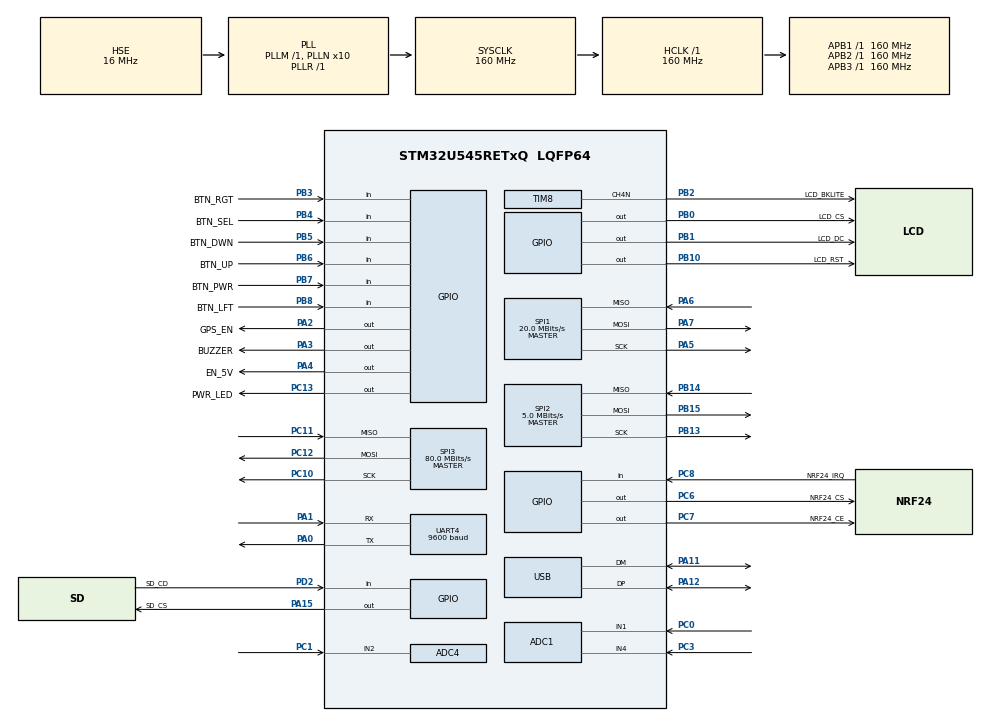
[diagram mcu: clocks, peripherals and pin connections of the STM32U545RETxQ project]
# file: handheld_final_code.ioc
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ADC1.Channel-6\#ChannelRegularConversion=ADC_CHANNEL_1
ADC1.Channel-7\#ChannelRegularConversion=ADC_CHANNEL_4
ADC1.ClockPrescaler=ADC_CLOCK_ASYNC_DIV4
ADC1.EnableAnalogWatchDog1=false
ADC1.MonitoredBy-6\#ChannelRegularConversion=__NULL
ADC1.MonitoredBy-7\#ChannelRegularConversion=__NULL
ADC1.NbrOfConversion=2
ADC1.NbrOfConversionFlag=1
ADC1.OffsetNumber-6\#ChannelRegularConversion=ADC_OFFSET_NONE
ADC1.OffsetNumber-7\#ChannelRegularConversion=ADC_OFFSET_NONE
ADC1.Rank-6\#ChannelRegularConversion=1
ADC1.Rank-7\#ChannelRegularConversion=2
ADC1.SamplingTime-6\#ChannelRegularConversion=ADC_SAMPLETIME_20CYCLES
ADC1.SamplingTime-7\#ChannelRegularConversion=ADC_SAMPLETIME_20CYCLES
ADC1.TriggerFrequencyMode=ADC_TRIGGER_FREQ_HIGH
ADC1.master=1
ADC4.Channel-0\#ChannelRegularConversion=ADC_CHANNEL_2
ADC4.ClockPrescaler=ADC_CLOCK_ASYNC_DIV4
ADC4.NbrOfConversionFlag=1
ADC4.OffsetNumber-0\#ChannelRegularConversion=ADC_OFFSET_NONE
ADC4.Rank-0\#ChannelRegularConversion=1
ADC4.RankArg-0\#ChannelRegularConversion=ADC4_REGULAR_RANK_1
ADC4.SamplingTime-0\#ChannelRegularConversion=ADC4_SAMPLINGTIME_COMMON_1
ADC4.SelectedChannel=ADC_CHANNEL_2
CORTEX_M33_NS.userName=CORTEX_M33
GPDMA1.DATAHANDLING_GPDMACH0=NONE
GPDMA1.DESTBURSTLENGTH_GPDMACH0=1
GPDMA1.DESTDATAWIDTH_GPDMACH0=DMA_DEST_DATAWIDTH_HALFWORD
GPDMA1.DIRECTION_GPDMACH0=DMA_MEMORY_TO_PERIPH
GPDMA1.IPHANDLE_GPDMACH0-SIMPLEREQUEST_GPDMACH0=__NULL
GPDMA1.PRIORITY_GPDMACH0=DMA_LOW_PRIORITY_LOW_WEIGHT
GPDMA1.REQUEST_GPDMACH0=GPDMA1_REQUEST_SPI1_TX
GPDMA1.SRCBURSTLENGTH_GPDMACH0=1
GPDMA1.SRCDATAWIDTH_GPDMACH0=DMA_SRC_DATAWIDTH_HALFWORD
GPDMA1.SRCINC_GPDMACH0=DMA_SINC_INCREMENTED
GPDMA1.TRIGGERPOLARITY_GPDMACH0=DMA_TRIG_POLARITY_MASKED
Mcu.Family=STM32U5
Mcu.Name=STM32U545RETxQ
Mcu.Package=LQFP64
NVIC.ADC1_IRQn=true\:0\:0\:false\:false\:true\:true\:true\:true
NVIC.GPDMA1_Channel0_IRQn=true\:0\:0\:false\:false\:true\:false\:true\:true
NVIC.PriorityGroup=NVIC_PRIORITYGROUP_4
NVIC.SPI1_IRQn=true\:0\:0\:false\:false\:true\:false\:true\:true
NVIC.TIM6_IRQn=true\:0\:0\:false\:false\:true\:true\:true\:true
NVIC.UART4_IRQn=true\:0\:0\:false\:false\:true\:true\:true\:true
PA0.Mode=Asynchronous
PA0.Signal=UART4_TX
PA1.Mode=Asynchronous
PA1.Signal=UART4_RX
PA11.Mode=Host
PA11.Signal=USB_DM
PA12.Mode=Host
PA12.Signal=USB_DP
PA13\ (JTMS/SWDIO).Mode=Serial_Wire
PA13\ (JTMS/SWDIO).Signal=DEBUG_JTMS-SWDIO
PA14\ (JTCK/SWCLK).Mode=Serial_Wire
PA14\ (JTCK/SWCLK).Signal=DEBUG_JTCK-SWCLK
PA15\ (JTDI).GPIO_Label=SD_CS
PA15\ (JTDI).Signal=GPIO_Output
PA2.GPIO_Label=GPS_EN
PA2.Signal=GPIO_Output
PA3.GPIO_Label=BUZZER
PA3.Signal=GPIO_Output
PA4.GPIO_Label=EN_5V
PA4.Signal=GPIO_Output
PA5.Mode=Full_Duplex_Master
PA5.Signal=SPI1_SCK
PA6.Mode=Full_Duplex_Master
PA6.Signal=SPI1_MISO
PA7.Mode=Full_Duplex_Master
PA7.Signal=SPI1_MOSI
PB0.GPIO_Label=LCD_CS
PB0.Signal=GPIO_Output
PB1.GPIO_Label=LCD_DC
PB1.Signal=GPIO_Output
PB10.GPIO_Label=LCD_RST
PB10.Signal=GPIO_Output
PB13.Mode=Full_Duplex_Master
PB13.Signal=SPI2_SCK
PB14.Mode=Full_Duplex_Master
PB14.Signal=SPI2_MISO
PB15.Mode=Full_Duplex_Master
PB15.Signal=SPI2_MOSI
PB2.GPIO_Label=LCD_BKLITE
PB2.Mode=PWM Generation4 CH4N
PB2.Signal=TIM8_CH4N
PB3\ (JTDO/TRACESWO).GPIO_Label=BTN_RGT
PB3\ (JTDO/TRACESWO).Signal=GPIO_Input
PB4\ (NJTRST).GPIO_Label=BTN_SEL
PB4\ (NJTRST).Signal=GPIO_Input
PB5.GPIO_Label=BTN_DWN
PB5.Signal=GPIO_Input
PB6.GPIO_Label=BTN_UP
PB6.Signal=GPIO_Input
PB7.GPIO_Label=BTN_PWR
PB7.Signal=GPIO_Input
PB8.GPIO_Label=BTN_LFT
PB8.Signal=GPIO_Input
PC0.Mode=IN1-Single-Ended
PC0.Signal=ADC1_IN1
PC1.Mode=IN2
PC1.Signal=ADC4_IN2
PC10.Mode=Full_Duplex_Master
PC10.Signal=SPI3_SCK
PC11.Mode=Full_Duplex_Master
PC11.Signal=SPI3_MISO
PC12.Mode=Full_Duplex_Master
PC12.Signal=SPI3_MOSI
PC13.GPIO_Label=PWR_LED
PC13.Signal=GPIO_Output
PC3.Mode=IN4-Single-Ended
PC3.Signal=ADC1_IN4
PC6.GPIO_Label=NRF24_CS
PC6.Signal=GPIO_Output
PC7.GPIO_Label=NRF24_CE
PC7.Signal=GPIO_Output
PC8.GPIO_Label=NRF24_IRQ
PC8.Signal=GPIO_Input
PD2.GPIO_Label=SD_CD
PD2.Signal=GPIO_Input
PH0-OSC_IN\ (PH0).Mode=HSE-External-Oscillator
PH0-OSC_IN\ (PH0).Signal=RCC_OSC_IN
PH1-OSC_OUT\ (PH1).Mode=HSE-External-Oscillator
PH1-OSC_OUT\ (PH1).Signal=RCC_OSC_OUT
ProjectManager.HeapSize=0x200
ProjectManager.StackSize=0x400
ProjectManager.TargetToolchain=STM32CubeIDE
RCC.ADCCLockSelection=RCC_ADCDACCLKSOURCE_SYSCLK
RCC.ADCFreq_Value=160000000
RCC.AHBFreq_Value=160000000
RCC.APB1Freq_Value=160000000
RCC.APB1TimFreq_Value=160000000
RCC.APB2Freq_Value=160000000
RCC.APB2TimFreq_Value=160000000
RCC.APB3Freq_Value=160000000
RCC.CK48CLockSelection=RCC_CLK48CLKSOURCE_PLL2
RCC.CortexFreq_Value=160000000
RCC.DACCLockSelectionVirtual=RCC_DAC1CLKSOURCE_LSI
RCC.DACCLockSelectionVirtualString=RCC_DAC1CLKSOURCE_LSI
RCC.EPOD_VALUE=16000000
RCC.HCLKFreq_Value=160000000
RCC.HSE_VALUE=16000000
RCC.HSI48_VALUE=48000000
RCC.HSI_VALUE=16000000
RCC.LSE_VALUE=32768
RCC.LSIDIV_VALUE=32000
RCC.MSI_VALUE=4000000
RCC.PLL1Q=4
RCC.PLL1R=1
RCC.PLL2N=12
RCC.PLL2Q=4
RCC.PLL2Source=RCC_PLLSOURCE_HSE
RCC.PLLN=10
RCC.PLLSourceVirtual=RCC_PLLSOURCE_HSE
RCC.SYSCLKFreq_VALUE=160000000
RCC.SYSCLKSource=RCC_SYSCLKSOURCE_PLLCLK
RCC.USBFreq_Value=48000000
RCC.VCOOutputFreq_Value=160000000
SPI1.BaudRatePrescaler=SPI_BAUDRATEPRESCALER_8
SPI1.CalculateBaudRate=20.0 MBits/s
SPI1.DataSize=SPI_DATASIZE_8BIT
SPI1.Direction=SPI_DIRECTION_2LINES
SPI1.Mode=SPI_MODE_MASTER
SPI1.VirtualType=VM_MASTER
SPI2.BaudRatePrescaler=SPI_BAUDRATEPRESCALER_32
SPI2.CalculateBaudRate=5.0 MBits/s
SPI2.DataSize=SPI_DATASIZE_8BIT
SPI2.Direction=SPI_DIRECTION_2LINES
SPI2.Mode=SPI_MODE_MASTER
SPI2.VirtualType=VM_MASTER
SPI3.BaudRatePrescaler=SPI_BAUDRATEPRESCALER_2
SPI3.CalculateBaudRate=80.0 MBits/s
SPI3.Direction=SPI_DIRECTION_2LINES
SPI3.Mode=SPI_MODE_MASTER
SPI3.VirtualType=VM_MASTER
STMicroelectronics.X-CUBE-TOUCHGFX.4.23.2.ApplicationCcGraphicsJjApplication=TouchGFXOoGenerator
STMicroelectronics.X-CUBE-TOUCHGFX.4.23.2.tgfx_address1=0x20000000
STMicroelectronics.X-CUBE-TOUCHGFX.4.23.2.tgfx_custom_height=240
STMicroelectronics.X-CUBE-TOUCHGFX.4.23.2.tgfx_custom_width=320
STMicroelectronics.X-CUBE-TOUCHGFX.4.23.2.tgfx_location=Allocate
STMicroelectronics.X-CUBE-TOUCHGFX.4.23.2_IsPackSelfContextualization=true
TIM6.AutoReloadPreload=TIM_AUTORELOAD_PRELOAD_DISABLE
TIM6.PeriodNoDither=333
TIM6.Prescaler=16000
TIM6.TIM_MasterOutputTrigger=TIM_TRGO_RESET
TIM8.AutoReloadPreload=TIM_AUTORELOAD_PRELOAD_ENABLE
TIM8.Channel-PWM\ Generation4\ CH4N=TIM_CHANNEL_4
TIM8.OCNIdleState_4=TIM_OCNIDLESTATE_RESET
TIM8.PeriodNoDither=1600
TIM8.PulseNoDither_4=800
UART4.BaudRate=9600
VP_CRC_VS_CRC.Mode=CRC_Activate
VP_GPDMA1_VS_GPDMACH0.Mode=SIMPLEREQUEST_GPDMACH0
VP_LPBAMQUEUE_VS_QUEUE.Mode=QUEUEMODE
VP_LPBAM_VS_SIG1.Mode=SmartRun
VP_LPBAM_VS_SIG4.Mode=LPDMA1
VP_MEMORYMAP_VS_MEMORYMAP.Mode=CurAppReg
VP_PWR_VS_SECSignals.Mode=Security/Privilege
VP_PWR_Vdda.Mode=isolationVdda
VP_STMicroelectronics.X-CUBE-TOUCHGFX_VS_GraphicsJjApplication_4.23.2.Mode=GraphicsJjApplication
VP_TIM6_VS_ClockSourceINT.Mode=Enable_Timer
board=custom

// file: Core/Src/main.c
/* USER CODE BEGIN Header */
/**
  ******************************************************************************
  * @file           : main.c
  * @brief          : Main program body
  ******************************************************************************
  * @attention
  *
  * Copyright (c) 2024 STMicroelectronics.
  * All rights reserved.
  *
  * This software is licensed under terms that can be found in the LICENSE file
  * in the root directory of this software component.
  * If no LICENSE file comes with this software, it is provided AS-IS.
  *
  ******************************************************************************
  */
/* USER CODE END Header */
#include "main.h"
#include "app_touchgfx.h"

/* USER CODE BEGIN Includes */
#include <stdbool.h>
#include <string.h>
#include "ili9341.h"
#include "methane_detector.h"
#include "wireless.h"
#include "gps.h"
#include "button_gui.h"
/* USER CODE END Includes */

ADC_HandleTypeDef hadc1;
ADC_HandleTypeDef hadc4;

CRC_HandleTypeDef hcrc;

SPI_HandleTypeDef hspi1;
SPI_HandleTypeDef hspi2;
SPI_HandleTypeDef hspi3;
DMA_HandleTypeDef handle_GPDMA1_Channel0;

TIM_HandleTypeDef htim6;
TIM_HandleTypeDef htim8;

UART_HandleTypeDef huart4;

HCD_HandleTypeDef hhcd_USB_DRD_FS;

void SystemClock_Config(void);
static void MX_GPIO_Init(void);
static void MX_GPDMA1_Init(void);
static void MX_SPI2_Init(void);
static void MX_SPI3_Init(void);
static void MX_USB_DRD_FS_HCD_Init(void);
static void MX_ADC1_Init(void);
static void MX_ADC4_Init(void);
static void MX_TIM8_Init(void);
static void MX_SPI1_Init(void);
static void MX_CRC_Init(void);
static void MX_UART4_Init(void);
static void MX_TIM6_Init(void);

/* USER CODE BEGIN 0 */
// Selects the handheld methane sensor ADC for the next conversion.
void ADC_Select_CH1 (void) {
	ADC_ChannelConfTypeDef sConfig = {0};

	sConfig.Channel = ADC_CHANNEL_1;
	sConfig.Rank = ADC_REGULAR_RANK_1;
	sConfig.SamplingTime = ADC_SAMPLETIME_20CYCLES;
	sConfig.SingleDiff = ADC_SINGLE_ENDED;
	sConfig.OffsetNumber = ADC_OFFSET_NONE;
	sConfig.Offset = 0;
	if (HAL_ADC_ConfigChannel(&hadc1, &sConfig) != HAL_OK)
	{
	   Error_Handler();
	}
}

// Selects the search methane sensor ADC for the next conversion.
void ADC_Select_CH4 (void) {
	ADC_ChannelConfTypeDef sConfig = {0};

	sConfig.Channel = ADC_CHANNEL_4;
	sConfig.Rank = ADC_REGULAR_RANK_1;
	sConfig.SamplingTime = ADC_SAMPLETIME_20CYCLES;
	sConfig.SingleDiff = ADC_SINGLE_ENDED;
	sConfig.OffsetNumber = ADC_OFFSET_NONE;
	sConfig.Offset = 0;
	if (HAL_ADC_ConfigChannel(&hadc1, &sConfig) != HAL_OK)
	{
	   Error_Handler();
	}
}

// Globals used by TouchGFX
uint16_t methaneLevel = 0;
volatile uint8_t newMethaneLevelReady = 0;
uint8_t touchgfxButtonPressed = BUTTON_NONE;
uint8_t touchgfxCurrentScreen = SCREEN_LOADING;
bool touchgfxRefreshScreen = false;
bool touchgfxIsMuteActive = false;
bool touchgfxIsLoggingActive = false;
bool touchgfxZeroRequested = false;
bool touchgfxSetFaultLight = false;
bool touchgfxSet20LELLight = false;
// End globals used by TouchGFX

/* USER CODE END 0 */

int main(void)
{

  /* MCU Configuration--------------------------------------------------------*/

  /* Reset of all peripherals, Initializes the Flash interface and the Systick. */
  HAL_Init();

  /* Configure the system clock */
  SystemClock_Config();

  /* Initialize all configured peripherals */
  MX_GPIO_Init();
  MX_GPDMA1_Init();
  MX_SPI2_Init();
  MX_SPI3_Init();
  MX_USB_DRD_FS_HCD_Init();
  MX_ADC1_Init();
  MX_ADC4_Init();
  MX_TIM8_Init();
  MX_SPI1_Init();
  MX_CRC_Init();
  MX_UART4_Init();
  MX_TIM6_Init();
  MX_TouchGFX_Init();
  /* USER CODE BEGIN 2 */

  //HAL_GPIO_WritePin(GPS_EN_GPIO_Port, GPS_EN_Pin, GPIO_PIN_RESET);	//Temporarily reset GPS (which is connected to display reset)
  HAL_GPIO_WritePin(PWR_LED_GPIO_Port, PWR_LED_Pin, GPIO_PIN_SET); //set LED pin high to show that program is working
  HAL_GPIO_WritePin(EN_5V_GPIO_Port, EN_5V_Pin, GPIO_PIN_SET);

  //HAL_Delay(1000);	//Wait a little before resetting display
  HAL_GPIO_WritePin(GPS_EN_GPIO_Port, GPS_EN_Pin, GPIO_PIN_RESET);

  ILI9341_Init();		// Run initialization function for LCD display
  ILI9341_SetDisplayBrightness(&htim8,100);	//set backlight brightness to 100%

  HAL_TIMEx_PWMN_Start(&htim8, TIM_CHANNEL_4);		// Enable complementary PWM on channel 4 of timer 8 (backlight brightness control)
  HAL_TIM_Base_Start_IT(&htim6);					// Start TIM6 to generate an interrupt every 1 second for calling TouchGFX vsync function. See stm32u5xx_it.c for call to vsync function

  uint8_t touchgfxPrerun = 0;
  while (touchgfxPrerun < 100) {
	  MX_TouchGFX_Process();	// Let TouchGFX get initialized before we start doing heavy lifting
	  touchgfxPrerun++;
  }

  // Initializing variables used in the main loop
  uint32_t lastConversionTime = HAL_GetTick();
  uint16_t numAvgs = 32;
  uint32_t avgAccum = 0;
  uint16_t referenceADCValue = 0;
  uint16_t searchADCValue = 0;
  uint16_t searchMethaneLevel = 0;
  uint16_t referenceMethaneLevel = 0;
  int16_t setZero = 0;
  uint8_t currentButtonPressed = BUTTON_NONE;
  uint8_t lastButtonPressed = BUTTON_NONE;
  bool mainScreenEnteredYet = false;
  uint32_t mainScreenEnteredTime = 0;
  uint32_t screenLastRefreshTime = 0;
  uint32_t powerButtonHeldAtTime = 0;
  bool powerButtonLastHeld = false;

  /* USER CODE END 2 */

  /* Infinite loop */
  /* USER CODE BEGIN WHILE */
  while (1)
  {
	  //Start a timer if the main screen is entered so that we can delay the start of sending methane values to touchgfx.
	  if (touchgfxCurrentScreen == SCREEN_MAIN && !mainScreenEnteredYet) {
		  mainScreenEnteredTime = HAL_GetTick();
		  mainScreenEnteredYet = true;
	  }

	  // Handle main screen things: If the current screen is the main screen and it has been at least 1 second since that screen was entered
	  if (touchgfxCurrentScreen == SCREEN_MAIN && HAL_GetTick() - mainScreenEnteredTime > 1000) {
		  // If 100ms has passed since the last ADC read and TouchGFX consumed the last level read, read the ADCs and calculate the methane level
		  if (HAL_GetTick() > (lastConversionTime + 100) && !newMethaneLevelReady) {
			  // Sample the reference methane sensor using an n-point average (n = avgAccum)
			  ADC_Select_CH1();
			  avgAccum = 0;
			  for (int i = 0; i < numAvgs; i++) {
				  HAL_ADC_Start(&hadc1);
				  HAL_ADC_PollForConversion(&hadc1, 1000);
				  avgAccum += HAL_ADC_GetValue(&hadc1);
			  }
			  referenceADCValue = avgAccum / numAvgs;
			  HAL_ADC_Stop(&hadc1);

			  // Sample the search methane sensor using an n-point average
			  ADC_Select_CH4();
			  avgAccum = 0;
			  for (int i = 0; i < numAvgs; i++) {
				  HAL_ADC_Start(&hadc1);
				  HAL_ADC_PollForConversion(&hadc1, 1000);
				  avgAccum += HAL_ADC_GetValue(&hadc1);
			  }
			  searchADCValue = avgAccum / numAvgs;
			  HAL_ADC_Stop(&hadc1);

			  searchMethaneLevel = convertADCToMethane(searchADCValue, 2315.9);			//Ro values must be calibrated to each sensor!
			  referenceMethaneLevel = convertADCToMethane(referenceADCValue, 1172.8);

			  // Compute the differential methane level and prevent it from going negative
			  if (((int)searchMethaneLevel - (int)referenceMethaneLevel - (int)setZero) < 0) {
				  methaneLevel = 0;
			  }
			  else {
				  methaneLevel = searchMethaneLevel - referenceMethaneLevel - setZero;
			  }

			  // If the differential measurement is more than -20ppm, illuminate the fault light
			  if (((int)searchMethaneLevel - (int)referenceMethaneLevel - (int)setZero) < -20) {
				  touchgfxSetFaultLight = true;
			  }
			  else {
				  touchgfxSetFaultLight = false;
			  }

			  // If the differential measurement is 10,000 ppm or more, illuminate the 20% LEL light
			  if (methaneLevel >= 10000) {
				  touchgfxSet20LELLight = true;
			  }
			  else {
				  touchgfxSet20LELLight = false;
			  }

			  newMethaneLevelReady = 1;

			  lastConversionTime = HAL_GetTick();
		  }

		  // Now, when on the main screen, trigger TouchGFX to manually invalidate the whole display every 10ms
		  if (!touchgfxRefreshScreen && HAL_GetTick() - screenLastRefreshTime > 100) {
			  touchgfxRefreshScreen = true;
			  screenLastRefreshTime = HAL_GetTick();
		  }

		  if (!touchgfxIsMuteActive && methaneLevel >= 20) {
			  HAL_GPIO_WritePin(BUZZER_GPIO_Port, BUZZER_Pin, GPIO_PIN_SET);
		  }
		  else {
			  HAL_GPIO_WritePin(BUZZER_GPIO_Port, BUZZER_Pin, GPIO_PIN_RESET);
		  }

		  // If the set zero button is pressed, calculate the new set zero and clear the request.
		  if (touchgfxZeroRequested) {
			  setZero = searchMethaneLevel - referenceMethaneLevel;
			  touchgfxZeroRequested = false;
		  }
	  }

	  // Sample to see if a button is pressed and if it should be sent to the TouchGFX.
	  // When touchgfx receives the button press in touchgfxButtonPressed, it will set touchgfxButtonPressed back to 0.
	  if (!touchgfxButtonPressed) {
		  currentButtonPressed = sampleButtonPress();
		  touchgfxButtonPressed = reportButtonPress(currentButtonPressed, lastButtonPressed);
		  lastButtonPressed = currentButtonPressed;
	  }

	  // Check if power button is pressed
	  if (HAL_GPIO_ReadPin(BTN_PWR_GPIO_Port, BTN_PWR_Pin)) {
		  // If so, and it wasn't previously held, start the holding timer
		  if (!powerButtonLastHeld) {
			  powerButtonHeldAtTime = HAL_GetTick();
		  }
		  powerButtonLastHeld = true;
		  // If 2 seconds have passed since the button was held, turn off the device
		  if ((HAL_GetTick() - powerButtonHeldAtTime) > 2000) {
			  //Turn off everything
			  ILI9341_SetDisplayBrightness(&htim8,0);
			  HAL_GPIO_WritePin(GPS_EN_GPIO_Port, GPS_EN_Pin, GPIO_PIN_RESET);
			  HAL_GPIO_WritePin(PWR_LED_GPIO_Port, PWR_LED_Pin, GPIO_PIN_RESET);
			  HAL_GPIO_WritePin(EN_5V_GPIO_Port, EN_5V_Pin, GPIO_PIN_RESET);
			  HAL_Delay(3000);	//wait 3 seconds so power button doesnt immediately wake up device

			  //Wait for power button press again to reset program
			  while (1) {
				  if (HAL_GPIO_ReadPin(BTN_PWR_GPIO_Port, BTN_PWR_Pin)) {
					  NVIC_SystemReset();
				  }
				  HAL_Delay(500);
			  }
		  }
	  }
	  // If not pressed, reset the timer.
	  else {
		  powerButtonLastHeld = false;
	  }

    /* USER CODE END WHILE */

  MX_TouchGFX_Process();
  }
}

void SystemClock_Config(void)
{
  RCC_OscInitTypeDef RCC_OscInitStruct = {0};
  RCC_ClkInitTypeDef RCC_ClkInitStruct = {0};

  /** Configure the main internal regulator output voltage
  */
  if (HAL_PWREx_ControlVoltageScaling(PWR_REGULATOR_VOLTAGE_SCALE1) != HAL_OK)
  {
    Error_Handler();
  }

  /** Initializes the CPU, AHB and APB buses clocks
  */
  RCC_OscInitStruct.OscillatorType = RCC_OSCILLATORTYPE_HSE;
  RCC_OscInitStruct.HSEState = RCC_HSE_ON;
  RCC_OscInitStruct.PLL.PLLState = RCC_PLL_ON;
  RCC_OscInitStruct.PLL.PLLSource = RCC_PLLSOURCE_HSE;
  RCC_OscInitStruct.PLL.PLLMBOOST = RCC_PLLMBOOST_DIV1;
  RCC_OscInitStruct.PLL.PLLM = 1;
  RCC_OscInitStruct.PLL.PLLN = 10;
  RCC_OscInitStruct.PLL.PLLP = 2;
  RCC_OscInitStruct.PLL.PLLQ = 4;
  RCC_OscInitStruct.PLL.PLLR = 1;
  RCC_OscInitStruct.PLL.PLLRGE = RCC_PLLVCIRANGE_1;
  RCC_OscInitStruct.PLL.PLLFRACN = 0;
  if (HAL_RCC_OscConfig(&RCC_OscInitStruct) != HAL_OK)
  {
    Error_Handler();
  }

  /** Initializes the CPU, AHB and APB buses clocks
  */
  RCC_ClkInitStruct.ClockType = RCC_CLOCKTYPE_HCLK|RCC_CLOCKTYPE_SYSCLK
                              |RCC_CLOCKTYPE_PCLK1|RCC_CLOCKTYPE_PCLK2
                              |RCC_CLOCKTYPE_PCLK3;
  RCC_ClkInitStruct.SYSCLKSource = RCC_SYSCLKSOURCE_PLLCLK;
  RCC_ClkInitStruct.AHBCLKDivider = RCC_SYSCLK_DIV1;
  RCC_ClkInitStruct.APB1CLKDivider = RCC_HCLK_DIV1;
  RCC_ClkInitStruct.APB2CLKDivider = RCC_HCLK_DIV1;
  RCC_ClkInitStruct.APB3CLKDivider = RCC_HCLK_DIV1;

  if (HAL_RCC_ClockConfig(&RCC_ClkInitStruct, FLASH_LATENCY_4) != HAL_OK)
  {
    Error_Handler();
  }
}

static void MX_ADC1_Init(void)
{

  ADC_ChannelConfTypeDef sConfig = {0};

  /** Common config
  */
  hadc1.Instance = ADC1;
  hadc1.Init.ClockPrescaler = ADC_CLOCK_ASYNC_DIV4;
  hadc1.Init.Resolution = ADC_RESOLUTION_14B;
  hadc1.Init.GainCompensation = 0;
  hadc1.Init.DataAlign = ADC_DATAALIGN_RIGHT;
  hadc1.Init.ScanConvMode = ADC_SCAN_ENABLE;
  hadc1.Init.EOCSelection = ADC_EOC_SINGLE_CONV;
  hadc1.Init.LowPowerAutoWait = DISABLE;
  hadc1.Init.ContinuousConvMode = DISABLE;
  hadc1.Init.NbrOfConversion = 2;
  hadc1.Init.DiscontinuousConvMode = DISABLE;
  hadc1.Init.ExternalTrigConv = ADC_SOFTWARE_START;
  hadc1.Init.ExternalTrigConvEdge = ADC_EXTERNALTRIGCONVEDGE_NONE;
  hadc1.Init.DMAContinuousRequests = DISABLE;
  hadc1.Init.TriggerFrequencyMode = ADC_TRIGGER_FREQ_HIGH;
  hadc1.Init.Overrun = ADC_OVR_DATA_PRESERVED;
  hadc1.Init.LeftBitShift = ADC_LEFTBITSHIFT_NONE;
  hadc1.Init.ConversionDataManagement = ADC_CONVERSIONDATA_DR;
  hadc1.Init.OversamplingMode = DISABLE;
  if (HAL_ADC_Init(&hadc1) != HAL_OK)
  {
    Error_Handler();
  }

  /** Configure Regular Channel
  */
  sConfig.Channel = ADC_CHANNEL_1;
  sConfig.Rank = ADC_REGULAR_RANK_1;
  sConfig.SamplingTime = ADC_SAMPLETIME_20CYCLES;
  sConfig.SingleDiff = ADC_SINGLE_ENDED;
  sConfig.OffsetNumber = ADC_OFFSET_NONE;
  sConfig.Offset = 0;
  if (HAL_ADC_ConfigChannel(&hadc1, &sConfig) != HAL_OK)
  {
    Error_Handler();
  }

  /** Configure Regular Channel
  */
  sConfig.Channel = ADC_CHANNEL_4;
  sConfig.Rank = ADC_REGULAR_RANK_2;
  if (HAL_ADC_ConfigChannel(&hadc1, &sConfig) != HAL_OK)
  {
    Error_Handler();
  }
  /* USER CODE BEGIN ADC1_Init 2 */
  // MAKE SURE TO COMMENT OUT EVERYTHING ABOVE THIS LINE UP TO CONFIGURE REGULAR CHANNEL!!! //
  // AND ALSO MAKE SURE THAT ABOVE YOU HAVE TO SET NbrOfConversions TO 1!!!
  /* USER CODE END ADC1_Init 2 */

}

static void MX_ADC4_Init(void)
{

  ADC_ChannelConfTypeDef sConfig = {0};

  /** Common config
  */
  hadc4.Instance = ADC4;
  hadc4.Init.ClockPrescaler = ADC_CLOCK_ASYNC_DIV4;
  hadc4.Init.Resolution = ADC_RESOLUTION_12B;
  hadc4.Init.DataAlign = ADC_DATAALIGN_RIGHT;
  hadc4.Init.ScanConvMode = ADC4_SCAN_DISABLE;
  hadc4.Init.EOCSelection = ADC_EOC_SINGLE_CONV;
  hadc4.Init.LowPowerAutoPowerOff = ADC_LOW_POWER_NONE;
  hadc4.Init.LowPowerAutoWait = DISABLE;
  hadc4.Init.ContinuousConvMode = DISABLE;
  hadc4.Init.NbrOfConversion = 1;
  hadc4.Init.DiscontinuousConvMode = DISABLE;
  hadc4.Init.ExternalTrigConv = ADC_SOFTWARE_START;
  hadc4.Init.ExternalTrigConvEdge = ADC_EXTERNALTRIGCONVEDGE_NONE;
  hadc4.Init.DMAContinuousRequests = DISABLE;
  hadc4.Init.TriggerFrequencyMode = ADC_TRIGGER_FREQ_LOW;
  hadc4.Init.Overrun = ADC_OVR_DATA_PRESERVED;
  hadc4.Init.SamplingTimeCommon1 = ADC4_SAMPLETIME_1CYCLE_5;
  hadc4.Init.SamplingTimeCommon2 = ADC4_SAMPLETIME_1CYCLE_5;
  hadc4.Init.OversamplingMode = DISABLE;
  if (HAL_ADC_Init(&hadc4) != HAL_OK)
  {
    Error_Handler();
  }

  /** Configure Regular Channel
  */
  sConfig.Channel = ADC_CHANNEL_2;
  sConfig.Rank = ADC4_REGULAR_RANK_1;
  sConfig.SamplingTime = ADC4_SAMPLINGTIME_COMMON_1;
  sConfig.OffsetNumber = ADC_OFFSET_NONE;
  sConfig.Offset = 0;
  if (HAL_ADC_ConfigChannel(&hadc4, &sConfig) != HAL_OK)
  {
    Error_Handler();
  }

}

static void MX_CRC_Init(void)
{

  hcrc.Instance = CRC;
  hcrc.Init.DefaultPolynomialUse = DEFAULT_POLYNOMIAL_ENABLE;
  hcrc.Init.DefaultInitValueUse = DEFAULT_INIT_VALUE_ENABLE;
  hcrc.Init.InputDataInversionMode = CRC_INPUTDATA_INVERSION_NONE;
  hcrc.Init.OutputDataInversionMode = CRC_OUTPUTDATA_INVERSION_DISABLE;
  hcrc.InputDataFormat = CRC_INPUTDATA_FORMAT_BYTES;
  if (HAL_CRC_Init(&hcrc) != HAL_OK)
  {
    Error_Handler();
  }

}

static void MX_GPDMA1_Init(void)
{

  /* Peripheral clock enable */
  __HAL_RCC_GPDMA1_CLK_ENABLE();

  /* GPDMA1 interrupt Init */
    HAL_NVIC_SetPriority(GPDMA1_Channel0_IRQn, 0, 0);
    HAL_NVIC_EnableIRQ(GPDMA1_Channel0_IRQn);

}

static void MX_SPI1_Init(void)
{

  SPI_AutonomousModeConfTypeDef HAL_SPI_AutonomousMode_Cfg_Struct = {0};

  /* SPI1 parameter configuration*/
  hspi1.Instance = SPI1;
  hspi1.Init.Mode = SPI_MODE_MASTER;
  hspi1.Init.Direction = SPI_DIRECTION_2LINES;
  hspi1.Init.DataSize = SPI_DATASIZE_8BIT;
  hspi1.Init.CLKPolarity = SPI_POLARITY_LOW;
  hspi1.Init.CLKPhase = SPI_PHASE_1EDGE;
  hspi1.Init.NSS = SPI_NSS_SOFT;
  hspi1.Init.BaudRatePrescaler = SPI_BAUDRATEPRESCALER_8;
  hspi1.Init.FirstBit = SPI_FIRSTBIT_MSB;
  hspi1.Init.TIMode = SPI_TIMODE_DISABLE;
  hspi1.Init.CRCCalculation = SPI_CRCCALCULATION_DISABLE;
  hspi1.Init.CRCPolynomial = 0x7;
  hspi1.Init.NSSPMode = SPI_NSS_PULSE_ENABLE;
  hspi1.Init.NSSPolarity = SPI_NSS_POLARITY_LOW;
  hspi1.Init.FifoThreshold = SPI_FIFO_THRESHOLD_01DATA;
  hspi1.Init.MasterSSIdleness = SPI_MASTER_SS_IDLENESS_00CYCLE;
  hspi1.Init.MasterInterDataIdleness = SPI_MASTER_INTERDATA_IDLENESS_00CYCLE;
  hspi1.Init.MasterReceiverAutoSusp = SPI_MASTER_RX_AUTOSUSP_DISABLE;
  hspi1.Init.MasterKeepIOState = SPI_MASTER_KEEP_IO_STATE_DISABLE;
  hspi1.Init.IOSwap = SPI_IO_SWAP_DISABLE;
  hspi1.Init.ReadyMasterManagement = SPI_RDY_MASTER_MANAGEMENT_INTERNALLY;
  hspi1.Init.ReadyPolarity = SPI_RDY_POLARITY_HIGH;
  if (HAL_SPI_Init(&hspi1) != HAL_OK)
  {
    Error_Handler();
  }
  HAL_SPI_AutonomousMode_Cfg_Struct.TriggerState = SPI_AUTO_MODE_DISABLE;
  HAL_SPI_AutonomousMode_Cfg_Struct.TriggerSelection = SPI_GRP1_GPDMA_CH0_TCF_TRG;
  HAL_SPI_AutonomousMode_Cfg_Struct.TriggerPolarity = SPI_TRIG_POLARITY_RISING;
  if (HAL_SPIEx_SetConfigAutonomousMode(&hspi1, &HAL_SPI_AutonomousMode_Cfg_Struct) != HAL_OK)
  {
    Error_Handler();
  }

}

static void MX_SPI2_Init(void)
{

  SPI_AutonomousModeConfTypeDef HAL_SPI_AutonomousMode_Cfg_Struct = {0};

  /* SPI2 parameter configuration*/
  hspi2.Instance = SPI2;
  hspi2.Init.Mode = SPI_MODE_MASTER;
  hspi2.Init.Direction = SPI_DIRECTION_2LINES;
  hspi2.Init.DataSize = SPI_DATASIZE_8BIT;
  hspi2.Init.CLKPolarity = SPI_POLARITY_LOW;
  hspi2.Init.CLKPhase = SPI_PHASE_1EDGE;
  hspi2.Init.NSS = SPI_NSS_SOFT;
  hspi2.Init.BaudRatePrescaler = SPI_BAUDRATEPRESCALER_32;
  hspi2.Init.FirstBit = SPI_FIRSTBIT_MSB;
  hspi2.Init.TIMode = SPI_TIMODE_DISABLE;
  hspi2.Init.CRCCalculation = SPI_CRCCALCULATION_DISABLE;
  hspi2.Init.CRCPolynomial = 0x7;
  hspi2.Init.NSSPMode = SPI_NSS_PULSE_ENABLE;
  hspi2.Init.NSSPolarity = SPI_NSS_POLARITY_LOW;
  hspi2.Init.FifoThreshold = SPI_FIFO_THRESHOLD_01DATA;
  hspi2.Init.MasterSSIdleness = SPI_MASTER_SS_IDLENESS_00CYCLE;
  hspi2.Init.MasterInterDataIdleness = SPI_MASTER_INTERDATA_IDLENESS_00CYCLE;
  hspi2.Init.MasterReceiverAutoSusp = SPI_MASTER_RX_AUTOSUSP_DISABLE;
  hspi2.Init.MasterKeepIOState = SPI_MASTER_KEEP_IO_STATE_DISABLE;
  hspi2.Init.IOSwap = SPI_IO_SWAP_DISABLE;
  hspi2.Init.ReadyMasterManagement = SPI_RDY_MASTER_MANAGEMENT_INTERNALLY;
  hspi2.Init.ReadyPolarity = SPI_RDY_POLARITY_HIGH;
  if (HAL_SPI_Init(&hspi2) != HAL_OK)
  {
    Error_Handler();
  }
  HAL_SPI_AutonomousMode_Cfg_Struct.TriggerState = SPI_AUTO_MODE_DISABLE;
  HAL_SPI_AutonomousMode_Cfg_Struct.TriggerSelection = SPI_GRP1_GPDMA_CH0_TCF_TRG;
  HAL_SPI_AutonomousMode_Cfg_Struct.TriggerPolarity = SPI_TRIG_POLARITY_RISING;
  if (HAL_SPIEx_SetConfigAutonomousMode(&hspi2, &HAL_SPI_AutonomousMode_Cfg_Struct) != HAL_OK)
  {
    Error_Handler();
  }

}

static void MX_SPI3_Init(void)
{

  SPI_AutonomousModeConfTypeDef HAL_SPI_AutonomousMode_Cfg_Struct = {0};

  /* SPI3 parameter configuration*/
  hspi3.Instance = SPI3;
  hspi3.Init.Mode = SPI_MODE_MASTER;
  hspi3.Init.Direction = SPI_DIRECTION_2LINES;
  hspi3.Init.DataSize = SPI_DATASIZE_8BIT;
  hspi3.Init.CLKPolarity = SPI_POLARITY_LOW;
  hspi3.Init.CLKPhase = SPI_PHASE_1EDGE;
  hspi3.Init.NSS = SPI_NSS_SOFT;
  hspi3.Init.BaudRatePrescaler = SPI_BAUDRATEPRESCALER_2;
  hspi3.Init.FirstBit = SPI_FIRSTBIT_MSB;
  hspi3.Init.TIMode = SPI_TIMODE_DISABLE;
  hspi3.Init.CRCCalculation = SPI_CRCCALCULATION_DISABLE;
  hspi3.Init.CRCPolynomial = 0x7;
  hspi3.Init.NSSPMode = SPI_NSS_PULSE_ENABLE;
  hspi3.Init.NSSPolarity = SPI_NSS_POLARITY_LOW;
  hspi3.Init.FifoThreshold = SPI_FIFO_THRESHOLD_01DATA;
  hspi3.Init.MasterSSIdleness = SPI_MASTER_SS_IDLENESS_00CYCLE;
  hspi3.Init.MasterInterDataIdleness = SPI_MASTER_INTERDATA_IDLENESS_00CYCLE;
  hspi3.Init.MasterReceiverAutoSusp = SPI_MASTER_RX_AUTOSUSP_DISABLE;
  hspi3.Init.MasterKeepIOState = SPI_MASTER_KEEP_IO_STATE_DISABLE;
  hspi3.Init.IOSwap = SPI_IO_SWAP_DISABLE;
  hspi3.Init.ReadyMasterManagement = SPI_RDY_MASTER_MANAGEMENT_INTERNALLY;
  hspi3.Init.ReadyPolarity = SPI_RDY_POLARITY_HIGH;
  if (HAL_SPI_Init(&hspi3) != HAL_OK)
  {
    Error_Handler();
  }
  HAL_SPI_AutonomousMode_Cfg_Struct.TriggerState = SPI_AUTO_MODE_DISABLE;
  HAL_SPI_AutonomousMode_Cfg_Struct.TriggerSelection = SPI_GRP2_LPDMA_CH0_TCF_TRG;
  HAL_SPI_AutonomousMode_Cfg_Struct.TriggerPolarity = SPI_TRIG_POLARITY_RISING;
  if (HAL_SPIEx_SetConfigAutonomousMode(&hspi3, &HAL_SPI_AutonomousMode_Cfg_Struct) != HAL_OK)
  {
    Error_Handler();
  }

}

static void MX_TIM6_Init(void)
{

  TIM_MasterConfigTypeDef sMasterConfig = {0};

  htim6.Instance = TIM6;
  htim6.Init.Prescaler = 16000;
  htim6.Init.CounterMode = TIM_COUNTERMODE_UP;
  htim6.Init.Period = 333;
  htim6.Init.AutoReloadPreload = TIM_AUTORELOAD_PRELOAD_DISABLE;
  if (HAL_TIM_Base_Init(&htim6) != HAL_OK)
  {
    Error_Handler();
  }
  sMasterConfig.MasterOutputTrigger = TIM_TRGO_RESET;
  sMasterConfig.MasterSlaveMode = TIM_MASTERSLAVEMODE_DISABLE;
  if (HAL_TIMEx_MasterConfigSynchronization(&htim6, &sMasterConfig) != HAL_OK)
  {
    Error_Handler();
  }

}

static void MX_TIM8_Init(void)
{

  TIM_MasterConfigTypeDef sMasterConfig = {0};
  TIM_OC_InitTypeDef sConfigOC = {0};
  TIM_BreakDeadTimeConfigTypeDef sBreakDeadTimeConfig = {0};

  htim8.Instance = TIM8;
  htim8.Init.Prescaler = 0;
  htim8.Init.CounterMode = TIM_COUNTERMODE_UP;
  htim8.Init.Period = 1600;
  htim8.Init.ClockDivision = TIM_CLOCKDIVISION_DIV1;
  htim8.Init.RepetitionCounter = 0;
  htim8.Init.AutoReloadPreload = TIM_AUTORELOAD_PRELOAD_ENABLE;
  if (HAL_TIM_PWM_Init(&htim8) != HAL_OK)
  {
    Error_Handler();
  }
  sMasterConfig.MasterOutputTrigger = TIM_TRGO_RESET;
  sMasterConfig.MasterOutputTrigger2 = TIM_TRGO2_RESET;
  sMasterConfig.MasterSlaveMode = TIM_MASTERSLAVEMODE_DISABLE;
  if (HAL_TIMEx_MasterConfigSynchronization(&htim8, &sMasterConfig) != HAL_OK)
  {
    Error_Handler();
  }
  sConfigOC.OCMode = TIM_OCMODE_PWM1;
  sConfigOC.Pulse = 800;
  sConfigOC.OCPolarity = TIM_OCPOLARITY_HIGH;
  sConfigOC.OCNPolarity = TIM_OCNPOLARITY_HIGH;
  sConfigOC.OCFastMode = TIM_OCFAST_DISABLE;
  sConfigOC.OCIdleState = TIM_OCIDLESTATE_RESET;
  sConfigOC.OCNIdleState = TIM_OCNIDLESTATE_RESET;
  if (HAL_TIM_PWM_ConfigChannel(&htim8, &sConfigOC, TIM_CHANNEL_4) != HAL_OK)
  {
    Error_Handler();
  }
  sBreakDeadTimeConfig.OffStateRunMode = TIM_OSSR_DISABLE;
  sBreakDeadTimeConfig.OffStateIDLEMode = TIM_OSSI_DISABLE;
  sBreakDeadTimeConfig.LockLevel = TIM_LOCKLEVEL_OFF;
  sBreakDeadTimeConfig.DeadTime = 0;
  sBreakDeadTimeConfig.BreakState = TIM_BREAK_DISABLE;
  sBreakDeadTimeConfig.BreakPolarity = TIM_BREAKPOLARITY_HIGH;
  sBreakDeadTimeConfig.BreakFilter = 0;
  sBreakDeadTimeConfig.BreakAFMode = TIM_BREAK_AFMODE_INPUT;
  sBreakDeadTimeConfig.Break2State = TIM_BREAK2_DISABLE;
  sBreakDeadTimeConfig.Break2Polarity = TIM_BREAK2POLARITY_HIGH;
  sBreakDeadTimeConfig.Break2Filter = 0;
  sBreakDeadTimeConfig.Break2AFMode = TIM_BREAK_AFMODE_INPUT;
  sBreakDeadTimeConfig.AutomaticOutput = TIM_AUTOMATICOUTPUT_DISABLE;
  if (HAL_TIMEx_ConfigBreakDeadTime(&htim8, &sBreakDeadTimeConfig) != HAL_OK)
  {
    Error_Handler();
  }
  HAL_TIM_MspPostInit(&htim8);

}

static void MX_UART4_Init(void)
{

  huart4.Instance = UART4;
  huart4.Init.BaudRate = 9600;
  huart4.Init.WordLength = UART_WORDLENGTH_8B;
  huart4.Init.StopBits = UART_STOPBITS_1;
  huart4.Init.Parity = UART_PARITY_NONE;
  huart4.Init.Mode = UART_MODE_TX_RX;
  huart4.Init.HwFlowCtl = UART_HWCONTROL_NONE;
  huart4.Init.OverSampling = UART_OVERSAMPLING_16;
  huart4.Init.OneBitSampling = UART_ONE_BIT_SAMPLE_DISABLE;
  huart4.Init.ClockPrescaler = UART_PRESCALER_DIV1;
  huart4.AdvancedInit.AdvFeatureInit = UART_ADVFEATURE_NO_INIT;
  if (HAL_UART_Init(&huart4) != HAL_OK)
  {
    Error_Handler();
  }
  if (HAL_UARTEx_SetTxFifoThreshold(&huart4, UART_TXFIFO_THRESHOLD_1_8) != HAL_OK)
  {
    Error_Handler();
  }
  if (HAL_UARTEx_SetRxFifoThreshold(&huart4, UART_RXFIFO_THRESHOLD_1_8) != HAL_OK)
  {
    Error_Handler();
  }
  if (HAL_UARTEx_DisableFifoMode(&huart4) != HAL_OK)
  {
    Error_Handler();
  }

}

static void MX_USB_DRD_FS_HCD_Init(void)
{

  hhcd_USB_DRD_FS.Instance = USB_DRD_FS;
  hhcd_USB_DRD_FS.Init.dev_endpoints = 8;
  hhcd_USB_DRD_FS.Init.Host_channels = 8;
  hhcd_USB_DRD_FS.Init.speed = HCD_SPEED_FULL;
  hhcd_USB_DRD_FS.Init.phy_itface = HCD_PHY_EMBEDDED;
  hhcd_USB_DRD_FS.Init.Sof_enable = DISABLE;
  hhcd_USB_DRD_FS.Init.low_power_enable = DISABLE;
  hhcd_USB_DRD_FS.Init.vbus_sensing_enable = DISABLE;
  hhcd_USB_DRD_FS.Init.bulk_doublebuffer_enable = DISABLE;
  hhcd_USB_DRD_FS.Init.iso_singlebuffer_enable = DISABLE;
  if (HAL_HCD_Init(&hhcd_USB_DRD_FS) != HAL_OK)
  {
    Error_Handler();
  }

}

static void MX_GPIO_Init(void)
{
  GPIO_InitTypeDef GPIO_InitStruct = {0};

  /* GPIO Ports Clock Enable */
  __HAL_RCC_GPIOC_CLK_ENABLE();
  __HAL_RCC_GPIOH_CLK_ENABLE();
  __HAL_RCC_GPIOA_CLK_ENABLE();
  __HAL_RCC_GPIOB_CLK_ENABLE();
  __HAL_RCC_GPIOD_CLK_ENABLE();

  /*Configure GPIO pin Output Level */
  HAL_GPIO_WritePin(GPIOC, PWR_LED_Pin|NRF24_CS_Pin|NRF24_CE_Pin, GPIO_PIN_RESET);

  /*Configure GPIO pin Output Level */
  HAL_GPIO_WritePin(GPIOA, GPS_EN_Pin|BUZZER_Pin|EN_5V_Pin|SD_CS_Pin, GPIO_PIN_RESET);

  /*Configure GPIO pin Output Level */
  HAL_GPIO_WritePin(GPIOB, LCD_CS_Pin|LCD_DC_Pin|LCD_RST_Pin, GPIO_PIN_RESET);

  /*Configure GPIO pins : PWR_LED_Pin NRF24_CS_Pin NRF24_CE_Pin */
  GPIO_InitStruct.Pin = PWR_LED_Pin|NRF24_CS_Pin|NRF24_CE_Pin;
  GPIO_InitStruct.Mode = GPIO_MODE_OUTPUT_PP;
  GPIO_InitStruct.Pull = GPIO_NOPULL;
  GPIO_InitStruct.Speed = GPIO_SPEED_FREQ_LOW;
  HAL_GPIO_Init(GPIOC, &GPIO_InitStruct);

  /*Configure GPIO pins : GPS_EN_Pin BUZZER_Pin EN_5V_Pin SD_CS_Pin */
  GPIO_InitStruct.Pin = GPS_EN_Pin|BUZZER_Pin|EN_5V_Pin|SD_CS_Pin;
  GPIO_InitStruct.Mode = GPIO_MODE_OUTPUT_PP;
  GPIO_InitStruct.Pull = GPIO_NOPULL;
  GPIO_InitStruct.Speed = GPIO_SPEED_FREQ_LOW;
  HAL_GPIO_Init(GPIOA, &GPIO_InitStruct);

  /*Configure GPIO pins : LCD_CS_Pin LCD_DC_Pin LCD_RST_Pin */
  GPIO_InitStruct.Pin = LCD_CS_Pin|LCD_DC_Pin|LCD_RST_Pin;
  GPIO_InitStruct.Mode = GPIO_MODE_OUTPUT_PP;
  GPIO_InitStruct.Pull = GPIO_NOPULL;
  GPIO_InitStruct.Speed = GPIO_SPEED_FREQ_LOW;
  HAL_GPIO_Init(GPIOB, &GPIO_InitStruct);

  /*Configure GPIO pin : NRF24_IRQ_Pin */
  GPIO_InitStruct.Pin = NRF24_IRQ_Pin;
  GPIO_InitStruct.Mode = GPIO_MODE_INPUT;
  GPIO_InitStruct.Pull = GPIO_NOPULL;
  HAL_GPIO_Init(NRF24_IRQ_GPIO_Port, &GPIO_InitStruct);

  /*Configure GPIO pin : SD_CD_Pin */
  GPIO_InitStruct.Pin = SD_CD_Pin;
  GPIO_InitStruct.Mode = GPIO_MODE_INPUT;
  GPIO_InitStruct.Pull = GPIO_NOPULL;
  HAL_GPIO_Init(SD_CD_GPIO_Port, &GPIO_InitStruct);

  /*Configure GPIO pins : BTN_RGT_Pin BTN_SEL_Pin BTN_DWN_Pin BTN_UP_Pin
                           BTN_PWR_Pin BTN_LFT_Pin */
  GPIO_InitStruct.Pin = BTN_RGT_Pin|BTN_SEL_Pin|BTN_DWN_Pin|BTN_UP_Pin
                          |BTN_PWR_Pin|BTN_LFT_Pin;
  GPIO_InitStruct.Mode = GPIO_MODE_INPUT;
  GPIO_InitStruct.Pull = GPIO_NOPULL;
  HAL_GPIO_Init(GPIOB, &GPIO_InitStruct);

}

void Error_Handler(void)
{
  __disable_irq();
  while (1)
  {
  }
}
